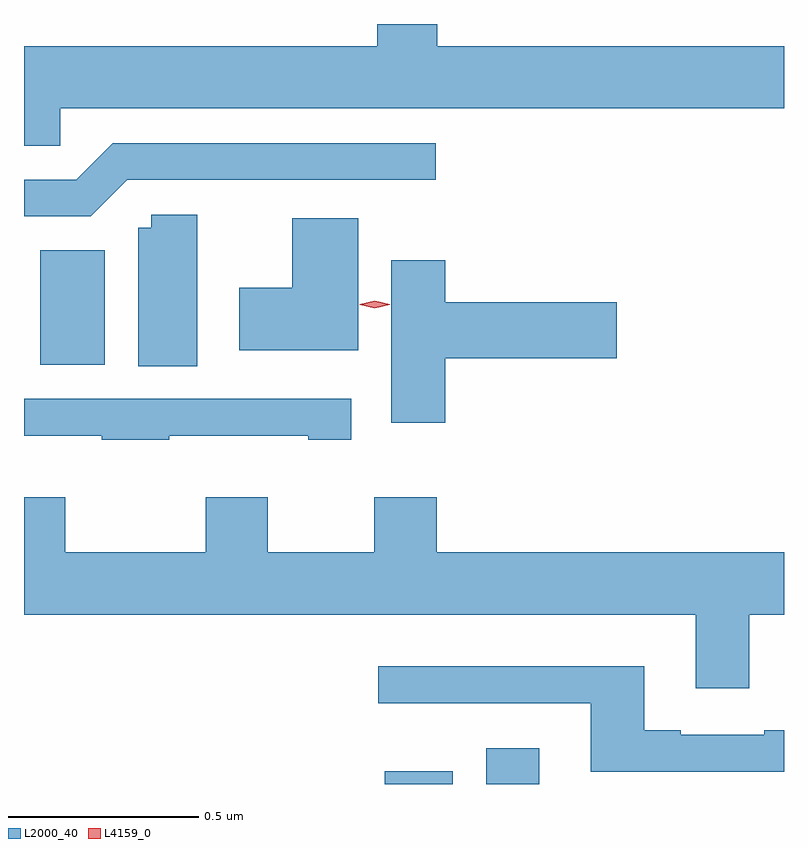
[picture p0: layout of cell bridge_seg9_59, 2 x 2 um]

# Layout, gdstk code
import gdstk
lib = gdstk.Library(unit=1e-6, precision=1e-09)
def R(c, l, rs):  # rectangles x0, y0, x1, y1
    for r in rs: c.add(gdstk.rectangle(r[:2], r[2:], *l))
def P(c, l, *ps):  # polygons
    for p in ps: c.add(gdstk.Polygon(p, *l))
L2000_40 = (2000, 40)
L4159_0 = (4159, 0)

bridge_seg9_59 = lib.new_cell('bridge_seg9_59')
R(bridge_seg9_59, L2000_40, [(1091.306,1201.302,1091.485,1201.336), (1091.573,1201.302,1091.713,1201.396), (1090.4,1202.405,1090.57,1202.707)])
P(bridge_seg9_59, L2000_40, [(1090.452,1203.08),(1092.357,1203.08),(1092.357,1203.244),(1091.444,1203.244),(1091.444,1203.302),(1091.287,1203.302),(1091.287,1203.244),(1090.357,1203.244),(1090.357,1202.982),(1090.452,1202.982)],
  [(1090.629,1202.892),(1091.44,1202.892),(1091.44,1202.988),(1090.59,1202.988),(1090.494,1202.892),(1090.357,1202.892),(1090.357,1202.796),(1090.533,1202.796)],
  [(1090.813,1202.8),(1090.692,1202.8),(1090.692,1202.766),(1090.658,1202.766),(1090.658,1202.401),(1090.813,1202.401)],
  [(1091.236,1202.791),(1091.063,1202.791),(1091.063,1202.608),(1090.923,1202.608),(1090.923,1202.444),(1091.236,1202.444)],
  [(1091.465,1202.423),(1091.917,1202.423),(1091.917,1202.57),(1091.465,1202.57),(1091.465,1202.68),(1091.324,1202.68),(1091.324,1202.253),(1091.465,1202.253)],
  [(1090.739,1202.219),(1091.105,1202.219),(1091.105,1202.208),(1091.218,1202.208),(1091.218,1202.316),(1090.357,1202.316),(1090.357,1202.219),(1090.561,1202.219),(1090.561,1202.208),(1090.739,1202.208)],
  [(1092.265,1201.748),(1092.357,1201.748),(1092.357,1201.912),(1091.443,1201.912),(1091.443,1202.056),(1091.279,1202.056),(1091.279,1201.912),(1090.999,1201.912),(1090.999,1202.056),(1090.835,1202.056),(1090.835,1201.912),(1090.465,1201.912),(1090.465,1202.056),(1090.357,1202.056),(1090.357,1201.748),(1092.125,1201.748),(1092.125,1201.554),(1092.265,1201.554)],
  [(1092.357,1201.444),(1092.305,1201.444),(1092.305,1201.431),(1092.085,1201.431),(1092.085,1201.444),(1091.989,1201.444),(1091.989,1201.612),(1091.289,1201.612),(1091.289,1201.515),(1091.849,1201.515),(1091.849,1201.334),(1092.357,1201.334)])
P(bridge_seg9_59, L4159_0, [(1091.28,1202.554),(1091.24,1202.563),(1091.24,1202.564),(1091.24,1202.564),(1091.28,1202.574),(1091.32,1202.564),(1091.32,1202.564),(1091.32,1202.563)])

lib.write_gds('bridge_seg9_59.gds')
